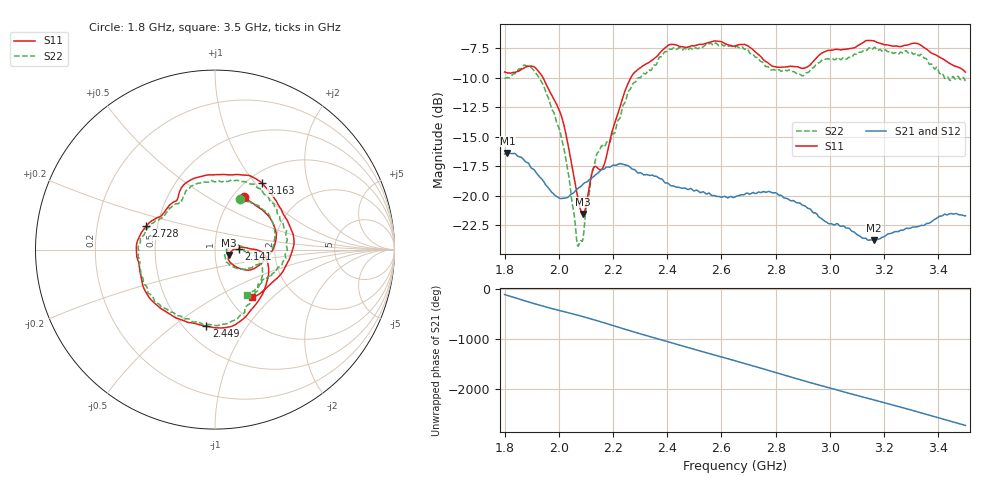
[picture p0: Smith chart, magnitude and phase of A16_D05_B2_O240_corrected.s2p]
! Created with skrf 1.9.0 (http://scikit-rf.org).
# Hz S RI R 50.0
!freq ReS11 ImS11 ReS21 ImS21 ReS12 ImS12 ReS22 ImS22
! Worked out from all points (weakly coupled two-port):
!   1601 points, 1.8 GHz to 3.5 GHz, reference 50 ohm
!   highest |S21| = -16.36 dB at 1.811 GHz (marker M1); lowest = -23.8 dB at 3.162 GHz (marker M2)
!   lowest |S11| = -21.5 dB at 2.09 GHz (marker M3), VSWR 1.18, Z = 58.4 - j3.52 ohm
!   |S11| at or under -10 dB: 1.942 GHz to 2.265 GHz (322.9 MHz wide, 15.3 % of centre)
!   |S22| runs from -24.3 to -7.0 dB; largest |S21 - S12| = 0.0028
!   S11 on the Smith chart (normalised r, x): 1.8 GHz: 1.13, +0.74; 2.141 GHz: 1.30, +0.00; 2.449 GHz: 0.64, -0.67; 2.728 GHz: 0.43, +0.13; 3.163 GHz: 1.17, +1.09; 3.5 GHz: 1.26, -0.75
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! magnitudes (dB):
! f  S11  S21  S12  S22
! 1.8 GHz  -9.5  -16.4  -16.4  -10.0
! 1.811 GHz  -9.6  -16.4  -16.4  -10.0
! 1.88 GHz  -9.1  -17.1  -17.1  -9.0
! 1.941 GHz  -10.0  -18.7  -18.7  -10.5
! 2.013 GHz  -13.4  -20.2  -20.2  -15.4
! 2.068 GHz  -19.9  -19.4  -19.4  -24.1
! 2.084 GHz  -21.4  -19.1  -19.1  -23.8
! 2.09 GHz  -21.5  -19.0  -19.0  -23.5
! 2.141 GHz  -17.6  -18.1  -18.1  -16.4
! 2.167 GHz  -17.4  -17.7  -17.7  -15.9
! 2.265 GHz  -10.0  -17.6  -17.6  -10.9
! 2.367 GHz  -8.0  -18.4  -18.4  -8.4
! 2.449 GHz  -7.3  -19.3  -19.3  -7.5
! 2.65 GHz  -7.3  -20.1  -20.1  -7.4
! 2.728 GHz  -7.8  -19.8  -19.8  -8.3
! 2.799 GHz  -9.0  -19.7  -19.7  -9.4
! 2.934 GHz  -8.7  -21.3  -21.3  -9.2
! 3.162 GHz  -6.9  -23.8  -23.7  -7.4
! 3.163 GHz  -6.9  -23.8  -23.7  -7.4
! 3.217 GHz  -7.2  -23.2  -23.2  -7.8
! 3.326 GHz  -7.1  -22.6  -22.6  -8.1
! 3.5 GHz  -9.5  -21.7  -21.7  -10.3
